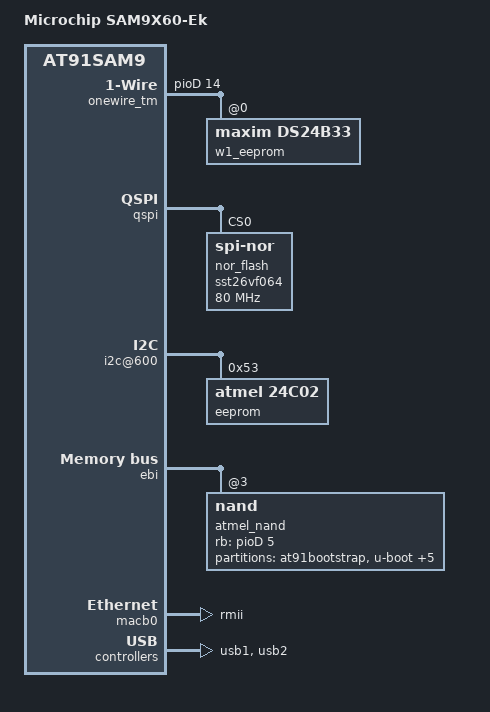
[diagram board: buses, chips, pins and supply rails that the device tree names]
// SPDX-License-Identifier: (GPL-2.0+ OR MIT)
/*
 * sam9x60ek.dts - Device Tree file for SAM9X60 EK board
 *
 * Copyright (C) 2018 Microchip Technology Inc. and its subsidiaries
 *
 * Author: Sandeep Sheriker M <Sandeepsheriker.mallikarjun@microchip.com>
 */
/dts-v1/;
#include <dt-bindings/mfd/atmel-flexcom.h>
#include "sam9x60.dtsi"

/ {
	model = "Microchip SAM9X60-Ek";
	compatible = "microchip,sam9x60ek", "microchip,sam9x60", "atmel,at91sam9";

	chosen {
		stdout-path = &dbgu;
		i2c0 = &flx0;
	};

	clocks {
		slow_xtal: slow_xtal {
			clock-frequency = <32768>;
		};

		main_xtal: main_xtal {
			clock-frequency = <24000000>;
		};
	};

	onewire_tm: onewire {
		gpios = <&pioD 14 GPIO_ACTIVE_HIGH>;
		pinctrl-names = "default";
		pinctrl-0 = <&pinctrl_onewire_tm_default>;
		status = "okay";

		w1_eeprom: w1_eeprom@0 {
			compatible = "maxim,ds24b33";
			status = "okay";
		};
	};

	ahb {
		apb {
			qspi: spi@f0014000 {
				pinctrl-names = "default";
				pinctrl-0 = <&pinctrl_qspi>;
				status = "okay";

				nor_flash: sst26vf064@0 {
					compatible = "jedec,spi-nor";
					reg = <0>;
					spi-max-frequency = <80000000>;
					spi-rx-bus-width = <4>;
					spi-tx-bus-width = <4>;
				};
			};

			flx0: flexcom@f801c600 {
				atmel,flexcom-mode = <ATMEL_FLEXCOM_MODE_TWI>;
				status = "okay";

				i2c@600 {
					compatible = "microchip,sam9x60-i2c";
					reg = <0x600 0x200>;
					pinctrl-names = "default";
					pinctrl-0 = <&pinctrl_flx0>;
					#address-cells = <1>;
					#size-cells = <0>;
					clocks = <&pmc PMC_TYPE_PERIPHERAL 5>;
					status = "okay";

					eeprom@53 {
						compatible = "atmel,24c02"; /* EEPROM is 2Kbits microchip 24aa025e48, an at24c02 with page size of 16 */
						reg = <0x53>;
						pagesize = <16>;
					};
				};
			};

			pinctrl {
				nand {
					pinctrl_nand_oe_we: nand-oe-we-0 {
						atmel,pins =
							<AT91_PIOD 0 AT91_PERIPH_A (AT91_PINCTRL_NONE | AT91_PINCTRL_SLEWRATE_DIS)
							 AT91_PIOD 1 AT91_PERIPH_A (AT91_PINCTRL_NONE | AT91_PINCTRL_SLEWRATE_DIS)>;
					};

					pinctrl_nand_rb: nand-rb-0 {
						atmel,pins =
							<AT91_PIOD 5 AT91_PERIPH_GPIO AT91_PINCTRL_PULL_UP>;
					};

					pinctrl_nand_cs: nand-cs-0 {
						atmel,pins =
							<AT91_PIOD 4 AT91_PERIPH_GPIO AT91_PINCTRL_PULL_UP>;
					};
				};

				ebi {
					pinctrl_ebi_data_0_7: ebi-data-lsb-0 {
						atmel,pins =
							<AT91_PIOD 6 AT91_PERIPH_A (AT91_PINCTRL_NONE | AT91_PINCTRL_SLEWRATE_DIS)
							 AT91_PIOD 7 AT91_PERIPH_A (AT91_PINCTRL_NONE | AT91_PINCTRL_SLEWRATE_DIS)
							 AT91_PIOD 8 AT91_PERIPH_A (AT91_PINCTRL_NONE | AT91_PINCTRL_SLEWRATE_DIS)
							 AT91_PIOD 9 AT91_PERIPH_A (AT91_PINCTRL_NONE | AT91_PINCTRL_SLEWRATE_DIS)
							 AT91_PIOD 10 AT91_PERIPH_A (AT91_PINCTRL_NONE | AT91_PINCTRL_SLEWRATE_DIS)
							 AT91_PIOD 11 AT91_PERIPH_A (AT91_PINCTRL_NONE | AT91_PINCTRL_SLEWRATE_DIS)
							 AT91_PIOD 12 AT91_PERIPH_A (AT91_PINCTRL_NONE | AT91_PINCTRL_SLEWRATE_DIS)
							 AT91_PIOD 13 AT91_PERIPH_A (AT91_PINCTRL_NONE | AT91_PINCTRL_SLEWRATE_DIS)>;
					};

					pinctrl_ebi_addr_nand: ebi-addr-0 {
						atmel,pins =
							<AT91_PIOD 2 AT91_PERIPH_A (AT91_PINCTRL_NONE | AT91_PINCTRL_SLEWRATE_DIS)
							 AT91_PIOD 3 AT91_PERIPH_A (AT91_PINCTRL_NONE | AT91_PINCTRL_SLEWRATE_DIS)>;
					};
				};

				pinctrl_qspi: qspi {
					atmel,pins =
						<AT91_PIOB 19 AT91_PERIPH_A AT91_PINCTRL_NONE
						 AT91_PIOB 20 AT91_PERIPH_A AT91_PINCTRL_NONE
						 AT91_PIOB 21 AT91_PERIPH_A AT91_PINCTRL_PULL_UP
						 AT91_PIOB 22 AT91_PERIPH_A AT91_PINCTRL_PULL_UP
						 AT91_PIOB 23 AT91_PERIPH_A AT91_PINCTRL_PULL_UP
						 AT91_PIOB 24 AT91_PERIPH_A AT91_PINCTRL_PULL_UP>;
				};

				pinctrl_flx0: flx0_default {
					atmel,pins =
						<AT91_PIOA 0 AT91_PERIPH_A AT91_PINCTRL_NONE
						 AT91_PIOA 1 AT91_PERIPH_A AT91_PINCTRL_NONE>;
				};

				pinctrl_onewire_tm_default: onewire_tm_default {
					atmel,pins =
						<AT91_PIOD 14 AT91_PERIPH_GPIO AT91_PINCTRL_PULL_UP>;
				};

				usb1 {
					pinctrl_usb_default: usb_default {
						atmel,pins = <AT91_PIOD 15 AT91_PERIPH_GPIO AT91_PINCTRL_NONE
								AT91_PIOD 16 AT91_PERIPH_GPIO AT91_PINCTRL_NONE>;
					};
				};

			};
		};
	};
};

&ebi {
	pinctrl-names = "default";
	pinctrl-0 = <&pinctrl_ebi_addr_nand &pinctrl_ebi_data_0_7>;
	status = "okay";

	nand_controller: nand-controller {
		pinctrl-names = "default";
		pinctrl-0 = <&pinctrl_nand_oe_we &pinctrl_nand_cs &pinctrl_nand_rb>;
		status = "okay";

		nand@3 {
			reg = <0x3 0x0 0x800000>;
			rb-gpios = <&pioD 5 GPIO_ACTIVE_HIGH>;
			cs-gpios = <&pioD 4 GPIO_ACTIVE_HIGH>;
			nand-bus-width = <8>;
			nand-ecc-mode = "hw";
			nand-ecc-strength = <8>;
			nand-ecc-step-size = <512>;
			nand-on-flash-bbt;
			label = "atmel_nand";

			partitions {
				compatible = "fixed-partitions";
				#address-cells = <1>;
				#size-cells = <1>;

				at91bootstrap@0 {
					label = "at91bootstrap";
					reg = <0x0 0x40000>;
				};

				uboot@40000 {
					label = "u-boot";
					reg = <0x40000 0xc0000>;
				};

				ubootenvred@100000 {
					label = "U-Boot Env Redundant";
					reg = <0x100000 0x40000>;
				};

				ubootenv@140000 {
					label = "U-Boot Env";
					reg = <0x140000 0x40000>;
				};

				dtb@180000 {
					label = "device tree";
					reg = <0x180000 0x80000>;
				};

				kernel@200000 {
					label = "kernel";
					reg = <0x200000 0x600000>;
				};

				rootfs@800000 {
					label = "rootfs";
					reg = <0x800000 0x1f800000>;
				};
			};
		};
	};
};

&macb0 {
	phy-mode = "rmii";
	status = "okay";
};

&usb1 {
	num-ports = <3>;
	atmel,vbus-gpio = <0
			   &pioD 15 GPIO_ACTIVE_HIGH
			   &pioD 16 GPIO_ACTIVE_HIGH>;
	pinctrl-names = "default";
	pinctrl-0 = <&pinctrl_usb_default>;
	status = "okay";
};

&usb2 {
	status = "okay";
};
